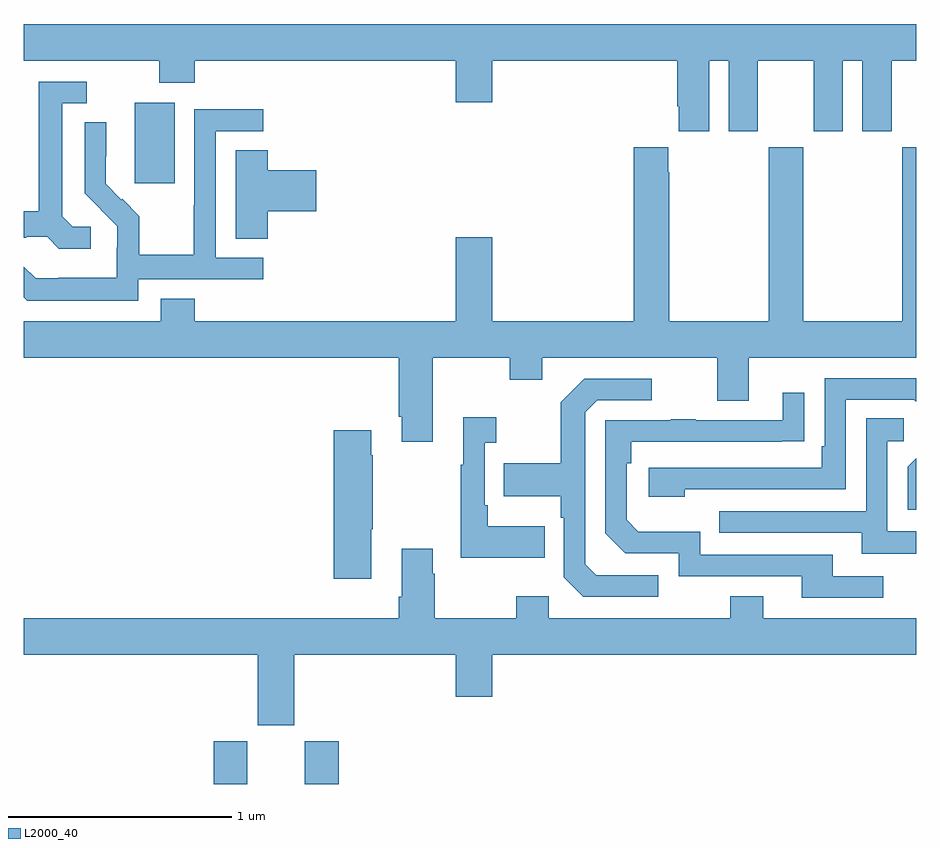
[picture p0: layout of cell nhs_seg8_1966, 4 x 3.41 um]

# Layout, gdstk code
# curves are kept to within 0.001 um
import gdstk
lib = gdstk.Library(unit=1e-6, precision=1e-09)
def R(c, l, rs):  # rectangles x0, y0, x1, y1
    for r in rs: c.add(gdstk.rectangle(r[:2], r[2:], *l))
def P(c, l, *ps):  # polygons
    for p in ps: c.add(gdstk.Polygon(p, *l))
L2000_40 = (2000, 40)

nhs_seg8_1966 = lib.new_cell('nhs_seg8_1966')
R(nhs_seg8_1966, L2000_40, [(235.85,1135.9,236.002,1136.091), (236.258,1135.9,236.411,1136.091), (235.496,1138.593,235.675,1138.954)])
P(nhs_seg8_1966, L2000_40, [(238.072,1139.144),(238.16,1139.144),(238.16,1138.827),(238.291,1138.827),(238.291,1139.144),(238.541,1139.144),(238.541,1138.827),(238.672,1138.827),(238.672,1139.144),(238.76,1139.144),(238.76,1138.827),(238.891,1138.827),(238.891,1139.144),(239,1139.144),(239,1139.308),(235,1139.308),(235,1139.144),(235.606,1139.144),(235.606,1139.045),(235.766,1139.045),(235.766,1139.144),(236.936,1139.144),(236.936,1138.956),(237.1,1138.956),(237.1,1139.144),(237.929,1139.144),(237.929,1138.939),(237.935,1138.939),(237.935,1138.827),(238.072,1138.827)],
  [(235.3,1138.398),(235.218,1138.398),(235.171,1138.445),(235.171,1138.953),(235.282,1138.953),(235.282,1139.049),(235.067,1139.049),(235.067,1138.469),(235,1138.469),(235,1138.35),(235.01,1138.35),(235.01,1138.353),(235.104,1138.353),(235.156,1138.301),(235.3,1138.301)],
  [(235.512,1138.164),(236.074,1138.164),(236.074,1138.26),(235.86,1138.26),(235.86,1138.827),(236.074,1138.827),(236.074,1138.926),(235.764,1138.926),(235.764,1138.496),(235.762,1138.496),(235.762,1138.273),(235.517,1138.273),(235.517,1138.447),(235.44,1138.524),(235.437,1138.521),(235.367,1138.592),(235.368,1138.868),(235.272,1138.868),(235.272,1138.55),(235.418,1138.402),(235.418,1138.305),(235.416,1138.305),(235.416,1138.171),(235.153,1138.171),(235.153,1138.167),(235.053,1138.167),(235,1138.22),(235,1138.082),(235.015,1138.067),(235.512,1138.067)],
  [(236.833,1137.812),(237.178,1137.812),(237.178,1137.713),(237.325,1137.713),(237.325,1137.812),(238.109,1137.812),(238.109,1137.618),(238.249,1137.618),(238.249,1137.812),(239,1137.812),(239,1138.756),(238.939,1138.756),(238.939,1137.976),(238.494,1137.976),(238.494,1138.756),(238.339,1138.756),(238.339,1137.976),(237.894,1137.976),(237.894,1138.643),(237.889,1138.643),(237.889,1138.756),(237.734,1138.756),(237.734,1137.976),(237.1,1137.976),(237.1,1138.351),(236.936,1138.351),(236.936,1137.976),(235.766,1137.976),(235.766,1138.075),(235.613,1138.075),(235.613,1137.976),(235,1137.976),(235,1137.812),(236.681,1137.812),(236.681,1137.547),(236.693,1137.547),(236.693,1137.435),(236.833,1137.435)],
  [(236.093,1138.469),(236.311,1138.469),(236.311,1138.652),(236.093,1138.652),(236.093,1138.742),(235.949,1138.742),(235.949,1138.345),(236.093,1138.345)],
  [(237.962,1137.222),(238.686,1137.222),(238.686,1137.624),(238.989,1137.624),(239,1137.613),(239,1137.72),(238.59,1137.72),(238.59,1137.415),(238.577,1137.415),(238.577,1137.318),(237.801,1137.318),(237.801,1137.188),(237.962,1137.188)],
  [(237.844,1136.835),(237.567,1136.835),(237.516,1136.886),(237.516,1137.567),(237.57,1137.621),(237.814,1137.621),(237.814,1137.717),(237.513,1137.717),(237.408,1137.611),(237.408,1137.339),(237.151,1137.339),(237.151,1137.191),(237.408,1137.191),(237.408,1137.095),(237.42,1137.095),(237.42,1136.826),(237.507,1136.739),(237.844,1136.739)],
  [(238.852,1136.832),(238.627,1136.832),(238.627,1136.928),(238.032,1136.928),(238.032,1137.031),(237.755,1137.031),(237.702,1137.084),(237.702,1137.338),(237.722,1137.338),(237.722,1137.435),(238.499,1137.436),(238.499,1137.655),(238.403,1137.655),(238.403,1137.531),(238.013,1137.531),(238.013,1137.536),(237.901,1137.536),(237.901,1137.531),(237.606,1137.531),(237.606,1137.024),(237.696,1136.934),(237.936,1136.934),(237.936,1136.832),(238.487,1136.832),(238.487,1136.736),(238.852,1136.736)],
  [(237.335,1137.055),(237.079,1137.055),(237.079,1137.151),(237.066,1137.151),(237.066,1137.431),(237.118,1137.431),(237.118,1137.544),(236.969,1137.544),(236.969,1137.331),(236.958,1137.331),(236.958,1136.915),(237.335,1136.915)],
  [(239,1137.033),(238.872,1137.033),(238.872,1137.438),(238.945,1137.438),(238.945,1137.539),(238.776,1137.539),(238.776,1137.123),(238.117,1137.123),(238.117,1137.027),(238.757,1137.027),(238.757,1136.933),(239,1136.933)],
  [(236.557,1137.043),(236.565,1137.043),(236.565,1137.374),(236.557,1137.374),(236.557,1137.487),(236.39,1137.487),(236.39,1136.82),(236.557,1136.82)],
  [(239,1137.36),(238.962,1137.322),(238.962,1137.129),(239,1137.129)],
  [(236.212,1136.48),(236.936,1136.48),(236.936,1136.292),(237.1,1136.292),(237.1,1136.48),(239,1136.48),(239,1136.644),(238.315,1136.644),(238.315,1136.743),(238.168,1136.743),(238.168,1136.644),(237.354,1136.644),(237.354,1136.743),(237.208,1136.743),(237.208,1136.644),(236.841,1136.644),(236.841,1136.843),(236.833,1136.843),(236.833,1136.956),(236.693,1136.956),(236.693,1136.74),(236.681,1136.74),(236.681,1136.644),(235,1136.644),(235,1136.48),(236.048,1136.48),(236.048,1136.163),(236.212,1136.163)])

lib.write_gds('nhs_seg8_1966.gds')
